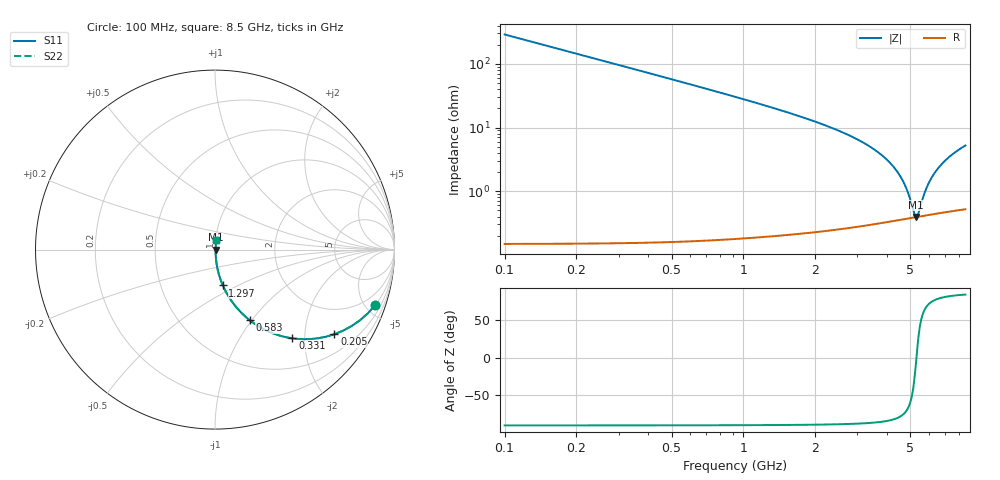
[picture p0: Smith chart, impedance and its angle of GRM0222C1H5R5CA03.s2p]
!Murata Part Number: GRM0222C1H5R5CA03
!These Parameters are Measured in Series Mode Connection
!Data Generated on Mar 30, 2021
!  o--ll--o
!Port1  Port2
!  o------o
!Operation Temp=25[degC], DC Bias Voltage=0[V]
!Freq. Start=100[MHz] Stop=9[GHz] 401[Steps]
# Hz S RI R 50
!Freq.(Hz) S11(Real) S11(Imag) S21(Real) S21(Imag) S12(Real) S12(Imag) S22(Real) S22(Imag)
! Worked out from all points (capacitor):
!   401 points, 100 MHz to 8.5 GHz, reference 50 ohm
!   read as one part in series: C = 5.5 pF near 142 MHz
!   lowest |Z| = 392 mohm at 5.287 GHz (marker M1)
!   series resonance near 5.301 GHz, so ESL is about 160 pH
!   S11 on the Smith chart (normalised r, x): 100 MHz: 1.00, -5.79; 205 MHz: 1.00, -2.82; 331 MHz: 1.00, -1.74; 583 MHz: 1.00, -0.98; 1.297 GHz: 1.00, -0.42; 8.5 GHz: 1.01, +0.10
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1e8  0.8931 -0.3087  0.1069 0.3087  0.1069 0.3087  0.8931 -0.3087
2.05e8  0.665 -0.4715  0.335 0.4715  0.335 0.4715  0.665 -0.4715
3.31e8  0.4313 -0.4944  0.5687 0.4944  0.5687 0.4944  0.4313 -0.4944
4.36e8  0.3032 -0.4584  0.6968 0.4584  0.6968 0.4584  0.3032 -0.4584
5.83e8  0.1944 -0.3941  0.8056 0.3941  0.8056 0.3941  0.1944 -0.3941
8.56e8  0.0988 -0.2958  0.9012 0.2958  0.9012 0.2958  0.0988 -0.2958
1.297e9  0.0436 -0.1997  0.9564 0.1997  0.9564 0.1997  0.0436 -0.1997
1.507e9  0.0319 -0.17  0.9681 0.17  0.9681 0.17  0.0319 -0.17
2.914e9  0.00736 -0.068  0.9926 0.068  0.9926 0.068  0.00736 -0.068
3.733e9  0.00459 -0.0383  0.9954 0.0383  0.9954 0.0383  0.00459 -0.0383
4.3e9  0.00392 -0.0225  0.9961 0.0225  0.9961 0.0225  0.00392 -0.0225
4.762e9  0.00377 -0.0114  0.9962 0.0114  0.9962 0.0114  0.00377 -0.0114
4.951e9  0.00379 -0.00727  0.9962 0.00727  0.9962 0.00727  0.00379 -0.00727
5.182e9  0.00386 -0.00241  0.9961 0.00241  0.9961 0.00241  0.00386 -0.00241
5.287e9  0.0039 -0.000273  0.9961 0.000273  0.9961 0.000273  0.0039 -0.000273
5.392e9  0.00395 0.00182  0.996 -0.00182  0.996 -0.00182  0.00395 0.00182
5.707e9  0.00416 0.00784  0.9958 -0.00784  0.9958 -0.00784  0.00416 0.00784
5.959e9  0.00437 0.0124  0.9956 -0.0124  0.9956 -0.0124  0.00437 0.0124
6.274e9  0.00467 0.0179  0.9953 -0.0179  0.9953 -0.0179  0.00467 0.0179
6.652e9  0.00509 0.0242  0.9949 -0.0242  0.9949 -0.0242  0.00509 0.0242
7.114e9  0.00568 0.0314  0.9943 -0.0314  0.9943 -0.0314  0.00568 0.0314
8.5e9  0.00781 0.0512  0.9922 -0.0512  0.9922 -0.0512  0.00781 0.0512
